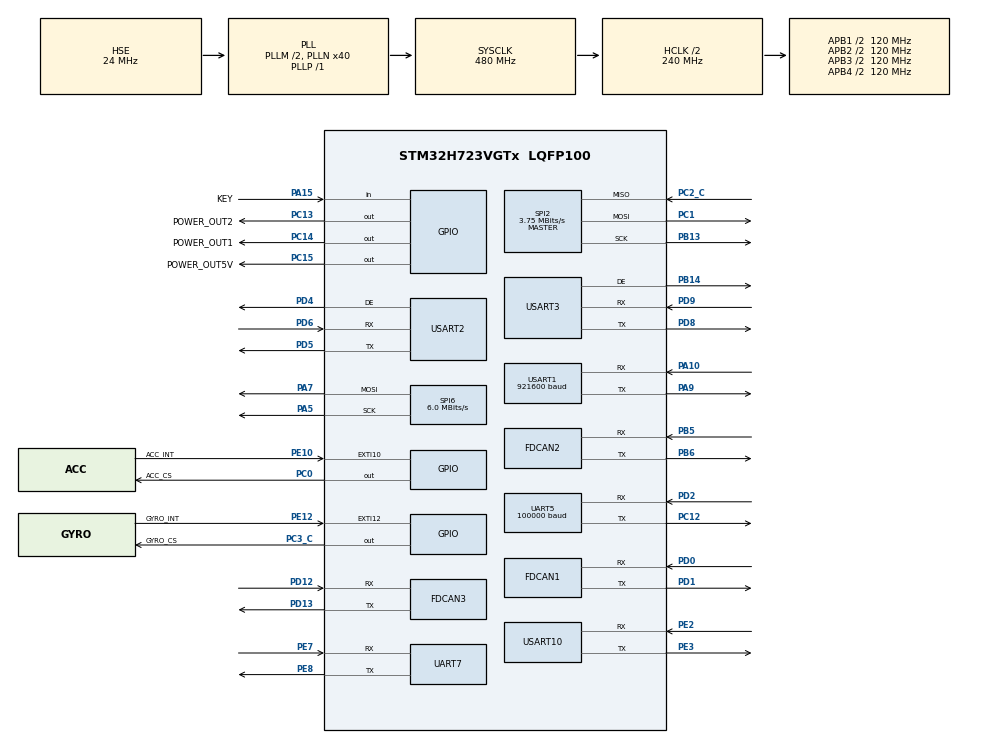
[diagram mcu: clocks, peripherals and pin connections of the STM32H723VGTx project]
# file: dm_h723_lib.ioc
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CORTEX_M7.CPU_ICache=Enabled
CORTEX_M7.default_mode_Activation=0
Dma.Request0=UART5_RX
Dma.Request1=SPI2_RX
Dma.Request2=SPI2_TX
Dma.Request3=USART3_RX
Dma.Request4=USART3_TX
Dma.Request5=USART2_RX
Dma.Request6=USART2_TX
Dma.SPI2_RX.1.Direction=DMA_PERIPH_TO_MEMORY
Dma.SPI2_RX.1.EventEnable=DISABLE
Dma.SPI2_RX.1.FIFOMode=DMA_FIFOMODE_DISABLE
Dma.SPI2_RX.1.Instance=DMA1_Stream0
Dma.SPI2_RX.1.MemDataAlignment=DMA_MDATAALIGN_BYTE
Dma.SPI2_RX.1.MemInc=DMA_MINC_ENABLE
Dma.SPI2_RX.1.Mode=DMA_NORMAL
Dma.SPI2_RX.1.PeriphDataAlignment=DMA_PDATAALIGN_BYTE
Dma.SPI2_RX.1.PeriphInc=DMA_PINC_DISABLE
Dma.SPI2_RX.1.Polarity=HAL_DMAMUX_REQ_GEN_RISING
Dma.SPI2_RX.1.Priority=DMA_PRIORITY_VERY_HIGH
Dma.SPI2_RX.1.RequestNumber=1
Dma.SPI2_RX.1.SignalID=NONE
Dma.SPI2_RX.1.SyncEnable=DISABLE
Dma.SPI2_RX.1.SyncPolarity=HAL_DMAMUX_SYNC_NO_EVENT
Dma.SPI2_RX.1.SyncRequestNumber=1
Dma.SPI2_RX.1.SyncSignalID=NONE
Dma.SPI2_TX.2.Direction=DMA_MEMORY_TO_PERIPH
Dma.SPI2_TX.2.EventEnable=DISABLE
Dma.SPI2_TX.2.FIFOMode=DMA_FIFOMODE_DISABLE
Dma.SPI2_TX.2.Instance=DMA1_Stream1
Dma.SPI2_TX.2.MemDataAlignment=DMA_MDATAALIGN_BYTE
Dma.SPI2_TX.2.MemInc=DMA_MINC_ENABLE
Dma.SPI2_TX.2.Mode=DMA_NORMAL
Dma.SPI2_TX.2.PeriphDataAlignment=DMA_PDATAALIGN_BYTE
Dma.SPI2_TX.2.PeriphInc=DMA_PINC_DISABLE
Dma.SPI2_TX.2.Polarity=HAL_DMAMUX_REQ_GEN_RISING
Dma.SPI2_TX.2.Priority=DMA_PRIORITY_HIGH
Dma.SPI2_TX.2.RequestNumber=1
Dma.SPI2_TX.2.SignalID=NONE
Dma.SPI2_TX.2.SyncEnable=DISABLE
Dma.SPI2_TX.2.SyncPolarity=HAL_DMAMUX_SYNC_NO_EVENT
Dma.SPI2_TX.2.SyncRequestNumber=1
Dma.SPI2_TX.2.SyncSignalID=NONE
Dma.UART5_RX.0.Direction=DMA_PERIPH_TO_MEMORY
Dma.UART5_RX.0.EventEnable=DISABLE
Dma.UART5_RX.0.FIFOMode=DMA_FIFOMODE_DISABLE
Dma.UART5_RX.0.Instance=DMA1_Stream2
Dma.UART5_RX.0.MemDataAlignment=DMA_MDATAALIGN_BYTE
Dma.UART5_RX.0.MemInc=DMA_MINC_ENABLE
Dma.UART5_RX.0.Mode=DMA_NORMAL
Dma.UART5_RX.0.PeriphDataAlignment=DMA_PDATAALIGN_BYTE
Dma.UART5_RX.0.PeriphInc=DMA_PINC_DISABLE
Dma.UART5_RX.0.Polarity=HAL_DMAMUX_REQ_GEN_RISING
Dma.UART5_RX.0.Priority=DMA_PRIORITY_VERY_HIGH
Dma.UART5_RX.0.RequestNumber=1
Dma.UART5_RX.0.SignalID=NONE
Dma.UART5_RX.0.SyncEnable=DISABLE
Dma.UART5_RX.0.SyncPolarity=HAL_DMAMUX_SYNC_NO_EVENT
Dma.UART5_RX.0.SyncRequestNumber=1
Dma.UART5_RX.0.SyncSignalID=NONE
Dma.USART2_RX.5.Direction=DMA_PERIPH_TO_MEMORY
Dma.USART2_RX.5.EventEnable=DISABLE
Dma.USART2_RX.5.FIFOMode=DMA_FIFOMODE_DISABLE
Dma.USART2_RX.5.Instance=DMA1_Stream5
Dma.USART2_RX.5.MemDataAlignment=DMA_MDATAALIGN_BYTE
Dma.USART2_RX.5.MemInc=DMA_MINC_ENABLE
Dma.USART2_RX.5.Mode=DMA_NORMAL
Dma.USART2_RX.5.PeriphDataAlignment=DMA_PDATAALIGN_BYTE
Dma.USART2_RX.5.PeriphInc=DMA_PINC_DISABLE
Dma.USART2_RX.5.Polarity=HAL_DMAMUX_REQ_GEN_RISING
Dma.USART2_RX.5.Priority=DMA_PRIORITY_HIGH
Dma.USART2_RX.5.RequestNumber=1
Dma.USART2_RX.5.SignalID=NONE
Dma.USART2_RX.5.SyncEnable=DISABLE
Dma.USART2_RX.5.SyncPolarity=HAL_DMAMUX_SYNC_NO_EVENT
Dma.USART2_RX.5.SyncRequestNumber=1
Dma.USART2_RX.5.SyncSignalID=NONE
Dma.USART2_TX.6.Direction=DMA_MEMORY_TO_PERIPH
Dma.USART2_TX.6.EventEnable=DISABLE
Dma.USART2_TX.6.FIFOMode=DMA_FIFOMODE_DISABLE
Dma.USART2_TX.6.Instance=DMA1_Stream6
Dma.USART2_TX.6.MemDataAlignment=DMA_MDATAALIGN_BYTE
Dma.USART2_TX.6.MemInc=DMA_MINC_ENABLE
Dma.USART2_TX.6.Mode=DMA_NORMAL
Dma.USART2_TX.6.PeriphDataAlignment=DMA_PDATAALIGN_BYTE
Dma.USART2_TX.6.PeriphInc=DMA_PINC_DISABLE
Dma.USART2_TX.6.Polarity=HAL_DMAMUX_REQ_GEN_RISING
Dma.USART2_TX.6.Priority=DMA_PRIORITY_HIGH
Dma.USART2_TX.6.RequestNumber=1
Dma.USART2_TX.6.SignalID=NONE
Dma.USART2_TX.6.SyncEnable=DISABLE
Dma.USART2_TX.6.SyncPolarity=HAL_DMAMUX_SYNC_NO_EVENT
Dma.USART2_TX.6.SyncRequestNumber=1
Dma.USART2_TX.6.SyncSignalID=NONE
Dma.USART3_RX.3.Direction=DMA_PERIPH_TO_MEMORY
Dma.USART3_RX.3.EventEnable=DISABLE
Dma.USART3_RX.3.FIFOMode=DMA_FIFOMODE_DISABLE
Dma.USART3_RX.3.Instance=DMA1_Stream3
Dma.USART3_RX.3.MemDataAlignment=DMA_MDATAALIGN_BYTE
Dma.USART3_RX.3.MemInc=DMA_MINC_ENABLE
Dma.USART3_RX.3.Mode=DMA_NORMAL
Dma.USART3_RX.3.PeriphDataAlignment=DMA_PDATAALIGN_BYTE
Dma.USART3_RX.3.PeriphInc=DMA_PINC_DISABLE
Dma.USART3_RX.3.Polarity=HAL_DMAMUX_REQ_GEN_RISING
Dma.USART3_RX.3.Priority=DMA_PRIORITY_HIGH
Dma.USART3_RX.3.RequestNumber=1
Dma.USART3_RX.3.SignalID=NONE
Dma.USART3_RX.3.SyncEnable=DISABLE
Dma.USART3_RX.3.SyncPolarity=HAL_DMAMUX_SYNC_NO_EVENT
Dma.USART3_RX.3.SyncRequestNumber=1
Dma.USART3_RX.3.SyncSignalID=NONE
Dma.USART3_TX.4.Direction=DMA_MEMORY_TO_PERIPH
Dma.USART3_TX.4.EventEnable=DISABLE
Dma.USART3_TX.4.FIFOMode=DMA_FIFOMODE_DISABLE
Dma.USART3_TX.4.Instance=DMA1_Stream4
Dma.USART3_TX.4.MemDataAlignment=DMA_MDATAALIGN_BYTE
Dma.USART3_TX.4.MemInc=DMA_MINC_ENABLE
Dma.USART3_TX.4.Mode=DMA_NORMAL
Dma.USART3_TX.4.PeriphDataAlignment=DMA_PDATAALIGN_BYTE
Dma.USART3_TX.4.PeriphInc=DMA_PINC_DISABLE
Dma.USART3_TX.4.Polarity=HAL_DMAMUX_REQ_GEN_RISING
Dma.USART3_TX.4.Priority=DMA_PRIORITY_HIGH
Dma.USART3_TX.4.RequestNumber=1
Dma.USART3_TX.4.SignalID=NONE
Dma.USART3_TX.4.SyncEnable=DISABLE
Dma.USART3_TX.4.SyncPolarity=HAL_DMAMUX_SYNC_NO_EVENT
Dma.USART3_TX.4.SyncRequestNumber=1
Dma.USART3_TX.4.SyncSignalID=NONE
FDCAN1.CalculateBaudRateNominal=1000000
FDCAN1.CalculateTimeBitNominal=1000
FDCAN1.CalculateTimeQuantumNominal=25.0
FDCAN1.DataPrescaler=3
FDCAN1.DataSyncJumpWidth=10
FDCAN1.DataTimeSeg1=29
FDCAN1.DataTimeSeg2=10
FDCAN1.NominalPrescaler=3
FDCAN1.NominalSyncJumpWidth=10
FDCAN1.NominalTimeSeg1=29
FDCAN1.NominalTimeSeg2=10
FDCAN1.RxFifo0ElmtsNbr=32
FDCAN1.StdFiltersNbr=1
FDCAN1.TxFifoQueueElmtsNbr=32
FDCAN2.CalculateBaudRateNominal=1000000
FDCAN2.CalculateTimeBitNominal=1000
FDCAN2.CalculateTimeQuantumNominal=25.0
FDCAN2.DataPrescaler=3
FDCAN2.DataSyncJumpWidth=10
FDCAN2.DataTimeSeg1=29
FDCAN2.DataTimeSeg2=10
FDCAN2.MessageRAMOffset=852
FDCAN2.NominalPrescaler=3
FDCAN2.NominalSyncJumpWidth=10
FDCAN2.NominalTimeSeg1=29
FDCAN2.NominalTimeSeg2=10
FDCAN2.RxFifo0ElmtsNbr=32
FDCAN2.StdFiltersNbr=1
FDCAN2.TxFifoQueueElmtsNbr=32
FDCAN3.CalculateBaudRateNominal=1000000
FDCAN3.CalculateTimeBitNominal=1000
FDCAN3.CalculateTimeQuantumNominal=25.0
FDCAN3.DataPrescaler=3
FDCAN3.DataSyncJumpWidth=10
FDCAN3.DataTimeSeg1=29
FDCAN3.DataTimeSeg2=10
FDCAN3.MessageRAMOffset=1704
FDCAN3.NominalPrescaler=3
FDCAN3.NominalSyncJumpWidth=10
FDCAN3.NominalTimeSeg1=29
FDCAN3.NominalTimeSeg2=10
FDCAN3.RxFifo0ElmtsNbr=32
FDCAN3.StdFiltersNbr=1
FDCAN3.TxFifoQueueElmtsNbr=32
FREERTOS.Tasks01=defaultTask,0,128,StartDefaultTask,Default,NULL,Dynamic,NULL,NULL;debug_uart,-3,1024,DEBUG_UART_TASK,As weak,NULL,Dynamic,NULL,NULL;led,-3,128,LED_TASK,As weak,NULL,Dynamic,NULL,NULL;get_rc,-3,256,GET_RC_TASK,As weak,NULL,Dynamic,NULL,NULL;imu_data,-3,1024,IMU_DATA_GET,As weak,NULL,Dynamic,NULL,NULL;can_sent,-3,256,CAN_SENT_TASK,As weak,NULL,Dynamic,NULL,NULL;shoot_task,-3,128,SHOOT_TASK,As weak,NULL,Dynamic,NULL,NULL;stop_check,-3,128,SHOOOT_STOP_CHECK,As weak,NULL,Dynamic,NULL,NULL;rs485,-3,256,RS485_SENT_TASK,As weak,NULL,Dynamic,NULL,NULL;read_key,-3,128,READ_KEY_TASK,As weak,NULL,Dynamic,NULL,NULL
FREERTOS.configTOTAL_HEAP_SIZE=30000
FREERTOS.configUSE_NEWLIB_REENTRANT=1
Mcu.Family=STM32H7
Mcu.Name=STM32H723VGTx
Mcu.Package=LQFP100
NVIC.DMA1_Stream0_IRQn=true\:5\:0\:false\:false\:true\:true\:false\:true\:true
NVIC.DMA1_Stream1_IRQn=true\:5\:0\:false\:false\:true\:true\:false\:true\:true
NVIC.DMA1_Stream2_IRQn=true\:5\:0\:false\:false\:true\:true\:false\:true\:true
NVIC.DMA1_Stream3_IRQn=true\:5\:0\:false\:false\:true\:true\:false\:true\:true
NVIC.DMA1_Stream4_IRQn=true\:5\:0\:false\:false\:true\:true\:false\:true\:true
NVIC.DMA1_Stream5_IRQn=true\:5\:0\:false\:false\:true\:true\:false\:true\:true
NVIC.DMA1_Stream6_IRQn=true\:5\:0\:false\:false\:true\:true\:false\:true\:true
NVIC.FDCAN1_IT0_IRQn=true\:5\:0\:false\:false\:true\:true\:true\:true\:true
NVIC.FDCAN2_IT0_IRQn=true\:5\:0\:false\:false\:true\:true\:true\:true\:true
NVIC.FDCAN3_IT0_IRQn=true\:5\:0\:false\:false\:true\:true\:true\:true\:true
NVIC.PriorityGroup=NVIC_PRIORITYGROUP_4
NVIC.SPI2_IRQn=true\:5\:0\:false\:false\:true\:true\:true\:true\:true
NVIC.TIM7_IRQn=true\:15\:0\:false\:false\:true\:false\:false\:true\:true
NVIC.TimeBase=TIM7_IRQn
NVIC.TimeBaseIP=TIM7
NVIC.UART5_IRQn=true\:5\:0\:false\:false\:true\:true\:true\:true\:true
NVIC.UART7_IRQn=true\:5\:0\:false\:false\:true\:true\:true\:true\:true
NVIC.USART10_IRQn=true\:5\:0\:false\:false\:true\:true\:true\:true\:true
NVIC.USART2_IRQn=true\:5\:0\:false\:false\:true\:true\:true\:true\:true
NVIC.USART3_IRQn=true\:5\:0\:false\:false\:true\:true\:true\:true\:true
PA10.Mode=Asynchronous
PA10.Signal=USART1_RX
PA13(JTMS/SWDIO).Mode=Serial_Wire
PA13(JTMS/SWDIO).Signal=DEBUG_JTMS-SWDIO
PA14(JTCK/SWCLK).Mode=Serial_Wire
PA14(JTCK/SWCLK).Signal=DEBUG_JTCK-SWCLK
PA15(JTDI).GPIO_Label=KEY
PA15(JTDI).GPIO_PuPd=GPIO_PULLUP
PA15(JTDI).Signal=GPIO_Input
PA5.Mode=TX_Only_Simplex_Unidirect_Master
PA5.Signal=SPI6_SCK
PA7.Mode=TX_Only_Simplex_Unidirect_Master
PA7.Signal=SPI6_MOSI
PA9.Mode=Asynchronous
PA9.Signal=USART1_TX
PB13.Mode=Full_Duplex_Master
PB13.Signal=SPI2_SCK
PB14.Mode=Hardware Flow Control (RS485)
PB14.Signal=USART3_DE
PB5.Mode=FDCAN_Activate
PB5.Signal=FDCAN2_RX
PB6.Mode=FDCAN_Activate
PB6.Signal=FDCAN2_TX
PC0.GPIO_Label=ACC_CS
PC0.GPIO_Speed=GPIO_SPEED_FREQ_VERY_HIGH
PC0.PinState=GPIO_PIN_SET
PC0.Signal=GPIO_Output
PC1.Mode=Full_Duplex_Master
PC1.Signal=SPI2_MOSI
PC12.Mode=Asynchronous
PC12.Signal=UART5_TX
PC13.GPIO_Label=POWER_OUT2
PC13.PinState=GPIO_PIN_SET
PC13.Signal=GPIO_Output
PC14-OSC32_IN.GPIO_Label=POWER_OUT1
PC14-OSC32_IN.PinState=GPIO_PIN_SET
PC14-OSC32_IN.Signal=GPIO_Output
PC15-OSC32_OUT.GPIO_Label=POWER_OUT5V
PC15-OSC32_OUT.PinState=GPIO_PIN_SET
PC15-OSC32_OUT.Signal=GPIO_Output
PC2_C.Mode=Full_Duplex_Master
PC2_C.Signal=SPI2_MISO
PC3_C.GPIO_Label=GYRO_CS
PC3_C.GPIO_Speed=GPIO_SPEED_FREQ_VERY_HIGH
PC3_C.PinState=GPIO_PIN_SET
PC3_C.Signal=GPIO_Output
PD0.Mode=FDCAN_Activate
PD0.Signal=FDCAN1_RX
PD1.Mode=FDCAN_Activate
PD1.Signal=FDCAN1_TX
PD12.Mode=FDCAN_Activate
PD12.Signal=FDCAN3_RX
PD13.Mode=FDCAN_Activate
PD13.Signal=FDCAN3_TX
PD2.Mode=Asynchronous
PD2.Signal=UART5_RX
PD4.Mode=Hardware Flow Control (RS485)
PD4.Signal=USART2_DE
PD5.Mode=Asynchronous
PD5.Signal=USART2_TX
PD6.Mode=Asynchronous
PD6.Signal=USART2_RX
PD8.Mode=Asynchronous
PD8.Signal=USART3_TX
PD9.Mode=Asynchronous
PD9.Signal=USART3_RX
PE10.GPIO_Label=ACC_INT
PE10.Signal=GPXTI10
PE12.GPIO_Label=GYRO_INT
PE12.Signal=GPXTI12
PE2.Mode=Asynchronous
PE2.Signal=USART10_RX
PE3.Mode=Asynchronous
PE3.Signal=USART10_TX
PE7.Mode=Asynchronous
PE7.Signal=UART7_RX
PE8.Mode=Asynchronous
PE8.Signal=UART7_TX
PH0-OSC_IN.Mode=HSE-External-Oscillator
PH0-OSC_IN.Signal=RCC_OSC_IN
PH1-OSC_OUT.Mode=HSE-External-Oscillator
PH1-OSC_OUT.Signal=RCC_OSC_OUT
ProjectManager.HeapSize=0x200
ProjectManager.StackSize=0x400
ProjectManager.TargetToolchain=STM32CubeIDE
RCC.ADCFreq_Value=96000000
RCC.APB1Freq_Value=120000000
RCC.APB2Freq_Value=120000000
RCC.APB3Freq_Value=120000000
RCC.APB4Freq_Value=120000000
RCC.CortexFreq_Value=480000000
RCC.D1PPRE=RCC_APB3_DIV2
RCC.D2PPRE1=RCC_APB1_DIV2
RCC.D2PPRE2=RCC_APB2_DIV2
RCC.D3PPRE=RCC_APB4_DIV2
RCC.DIVM1=2
RCC.DIVM2=2
RCC.DIVN1=40
RCC.DIVN2=16
RCC.DIVP1=1
RCC.DIVQ1=4
RCC.HCLKFreq_Value=240000000
RCC.HPRE=RCC_HCLK_DIV2
RCC.HSE_VALUE=24000000
RCC.PLL2FRACN=0
RCC.PLL3FRACN=0
RCC.PLLFRACN=0
RCC.PLLSourceVirtual=RCC_PLLSOURCE_HSE
RCC.SPI6CLockSelection=RCC_SPI6CLKSOURCE_HSE
RCC.SYSCLKFreq_VALUE=480000000
RCC.SYSCLKSource=RCC_SYSCLKSOURCE_PLLCLK
RCC.USBFreq_Value=120000000
SPI2.BaudRatePrescaler=SPI_BAUDRATEPRESCALER_32
SPI2.CLKPhase=SPI_PHASE_2EDGE
SPI2.CLKPolarity=SPI_POLARITY_HIGH
SPI2.CalculateBaudRate=3.75 MBits/s
SPI2.DataSize=SPI_DATASIZE_8BIT
SPI2.Direction=SPI_DIRECTION_2LINES
SPI2.Mode=SPI_MODE_MASTER
SPI2.VirtualType=VM_MASTER
SPI6.BaudRatePrescaler=SPI_BAUDRATEPRESCALER_4
SPI6.CLKPhase=SPI_PHASE_2EDGE
SPI6.CalculateBaudRate=6.0 MBits/s
SPI6.DataSize=SPI_DATASIZE_8BIT
SPI6.Direction=SPI_DIRECTION_2LINES_TXONLY
SPI6.Mode=SPI_MODE_MASTER
SPI6.VirtualType=VM_MASTER
UART5.BaudRate=100000
UART5.Mode=MODE_TX_RX
UART5.Parity=PARITY_EVEN
UART5.StopBits=UART_STOPBITS_2
UART5.WordLength=WORDLENGTH_9B
USART1.BaudRate=921600
USART1.VirtualMode-Asynchronous=VM_ASYNC
USART10.VirtualMode=VM_ASYNC
USART2.VirtualMode-Asynchronous=VM_ASYNC
USART2.VirtualMode-Hardware\ Flow\ Control\ (RS485)=VM_ASYNC
USART3.OverSampling=UART_OVERSAMPLING_8
USART3.VirtualMode-Asynchronous=VM_ASYNC
USART3.VirtualMode-Hardware\ Flow\ Control\ (RS485)=VM_ASYNC
VP_FREERTOS_VS_CMSIS_V1.Mode=CMSIS_V1
VP_MEMORYMAP_VS_MEMORYMAP.Mode=CurAppReg
VP_SYS_VS_tim7.Mode=TIM7
board=custom

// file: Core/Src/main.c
/* USER CODE BEGIN Header */
/**
  ******************************************************************************
  * @file           : main.c
  * @brief          : Main program body
  ******************************************************************************
  * @attention
  *
  * Copyright (c) 2026 STMicroelectronics.
  * All rights reserved.
  *
  * This software is licensed under terms that can be found in the LICENSE file
  * in the root directory of this software component.
  * If no LICENSE file comes with this software, it is provided AS-IS.
  *
  ******************************************************************************
  */
/* USER CODE END Header */
#include "main.h"
#include "cmsis_os.h"
#include "dma.h"
#include "fdcan.h"
#include "spi.h"
#include "usart.h"
#include "gpio.h"

/* USER CODE BEGIN Includes */
#include "ws2812.h"
#include "uart_printf.h"
#include "remote_control.h"
#include "BMI088driver.h"
#include "bsp_can.h"
#include "dm_motor.h"
#include "SHOOT_TASK.h"
/* USER CODE END Includes */

/* USER CODE BEGIN PV */
float gyro[3], accel[3], temp;
float INS_quat[4] = {1.0f, 0.0f, 0.0f, 0.0f};
float INS_angle[3] = {0.0f, 0.0f, 0.0f};
float INS_degree[3] = {0.0f, 0.0f, 0.0f};

//shoot
float SHOOT_2006_ID1_GIVEN_SPEED ;
int16_t SHOOT_2006_ID1_GIVEN_CURRENT ;

int16_t KEY_STATE ;
/* USER CODE END PV */

void SystemClock_Config(void);
void MX_FREERTOS_Init(void);

int main(void)
{

  /* Enable the CPU Cache */

  /* Enable I-Cache---------------------------------------------------------*/
  SCB_EnableICache();

  /* MCU Configuration--------------------------------------------------------*/

  /* Reset of all peripherals, Initializes the Flash interface and the Systick. */
  HAL_Init();

  /* Configure the system clock */
  SystemClock_Config();

  /* Initialize all configured peripherals */
  MX_GPIO_Init();
  MX_DMA_Init();
  MX_SPI6_Init();
  MX_USART1_UART_Init();
  MX_UART5_Init();
  MX_SPI2_Init();
  MX_FDCAN1_Init();
  MX_FDCAN2_Init();
  MX_FDCAN3_Init();
  MX_UART7_Init();
  MX_USART10_UART_Init();
  MX_USART3_UART_Init();
  MX_USART2_UART_Init();
  /* USER CODE BEGIN 2 */

    while(BMI088_init());

    //about remote control
#if REMOTE_TYPE == SBUS
    HAL_UARTEx_ReceiveToIdle_DMA(&huart5, rx_subs_buff, SBUS_BUFF_SIZE * 2);
#endif

#if REMOTE_TYPE == DBUS
    HAL_UARTEx_ReceiveToIdle_DMA(&huart5, rx_dbus_buff, DBUS_BUFF_SIZE);
#endif
    dm_motor_init();

    BSP_FDCAN_Init();

    shoot_2006_id1_speed_pid_init();

  /* USER CODE END 2 */

  /* Call init function for freertos objects (in cmsis_os2.c) */
  MX_FREERTOS_Init();

  /* Start scheduler */
  osKernelStart();

  /* We should never get here as control is now taken by the scheduler */

  /* Infinite loop */
  while (1)
  {

  }
}

void SystemClock_Config(void)
{
  RCC_OscInitTypeDef RCC_OscInitStruct = {0};
  RCC_ClkInitTypeDef RCC_ClkInitStruct = {0};

  /** Supply configuration update enable
  */
  HAL_PWREx_ConfigSupply(PWR_LDO_SUPPLY);

  /** Configure the main internal regulator output voltage
  */
  __HAL_PWR_VOLTAGESCALING_CONFIG(PWR_REGULATOR_VOLTAGE_SCALE0);

  while(!__HAL_PWR_GET_FLAG(PWR_FLAG_VOSRDY)) {}

  /** Initializes the RCC Oscillators according to the specified parameters
  * in the RCC_OscInitTypeDef structure.
  */
  RCC_OscInitStruct.OscillatorType = RCC_OSCILLATORTYPE_HSE;
  RCC_OscInitStruct.HSEState = RCC_HSE_ON;
  RCC_OscInitStruct.PLL.PLLState = RCC_PLL_ON;
  RCC_OscInitStruct.PLL.PLLSource = RCC_PLLSOURCE_HSE;
  RCC_OscInitStruct.PLL.PLLM = 2;
  RCC_OscInitStruct.PLL.PLLN = 40;
  RCC_OscInitStruct.PLL.PLLP = 1;
  RCC_OscInitStruct.PLL.PLLQ = 4;
  RCC_OscInitStruct.PLL.PLLR = 2;
  RCC_OscInitStruct.PLL.PLLRGE = RCC_PLL1VCIRANGE_3;
  RCC_OscInitStruct.PLL.PLLVCOSEL = RCC_PLL1VCOWIDE;
  RCC_OscInitStruct.PLL.PLLFRACN = 0;
  if (HAL_RCC_OscConfig(&RCC_OscInitStruct) != HAL_OK)
  {
    Error_Handler();
  }

  /** Initializes the CPU, AHB and APB buses clocks
  */
  RCC_ClkInitStruct.ClockType = RCC_CLOCKTYPE_HCLK|RCC_CLOCKTYPE_SYSCLK
                              |RCC_CLOCKTYPE_PCLK1|RCC_CLOCKTYPE_PCLK2
                              |RCC_CLOCKTYPE_D3PCLK1|RCC_CLOCKTYPE_D1PCLK1;
  RCC_ClkInitStruct.SYSCLKSource = RCC_SYSCLKSOURCE_PLLCLK;
  RCC_ClkInitStruct.SYSCLKDivider = RCC_SYSCLK_DIV1;
  RCC_ClkInitStruct.AHBCLKDivider = RCC_HCLK_DIV2;
  RCC_ClkInitStruct.APB3CLKDivider = RCC_APB3_DIV2;
  RCC_ClkInitStruct.APB1CLKDivider = RCC_APB1_DIV2;
  RCC_ClkInitStruct.APB2CLKDivider = RCC_APB2_DIV2;
  RCC_ClkInitStruct.APB4CLKDivider = RCC_APB4_DIV2;

  if (HAL_RCC_ClockConfig(&RCC_ClkInitStruct, FLASH_LATENCY_3) != HAL_OK)
  {
    Error_Handler();
  }
}

void HAL_TIM_PeriodElapsedCallback(TIM_HandleTypeDef *htim)
{
  if (htim->Instance == TIM7) {
    HAL_IncTick();
  }
}

void Error_Handler(void)
{
  __disable_irq();
  while (1)
  {
  }
}

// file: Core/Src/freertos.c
/* USER CODE BEGIN Header */
/**
  ******************************************************************************
  * File Name          : freertos.c
  * Description        : Code for freertos applications
  ******************************************************************************
  * @attention
  *
  * Copyright (c) 2026 STMicroelectronics.
  * All rights reserved.
  *
  * This software is licensed under terms that can be found in the LICENSE file
  * in the root directory of this software component.
  * If no LICENSE file comes with this software, it is provided AS-IS.
  *
  ******************************************************************************
  */
/* USER CODE END Header */

#include "FreeRTOS.h"
#include "task.h"
#include "main.h"
#include "cmsis_os.h"

osThreadId defaultTaskHandle;
osThreadId debug_uartHandle;
osThreadId ledHandle;
osThreadId get_rcHandle;
osThreadId imu_dataHandle;
osThreadId can_sentHandle;
osThreadId shoot_taskHandle;
osThreadId stop_checkHandle;
osThreadId rs485Handle;
osThreadId read_keyHandle;

void StartDefaultTask(void const * argument);
void DEBUG_UART_TASK(void const * argument);
void LED_TASK(void const * argument);
void GET_RC_TASK(void const * argument);
void IMU_DATA_GET(void const * argument);
void CAN_SENT_TASK(void const * argument);
void SHOOT_TASK(void const * argument);
void SHOOOT_STOP_CHECK(void const * argument);
void RS485_SENT_TASK(void const * argument);
void READ_KEY_TASK(void const * argument);

void MX_FREERTOS_Init(void); /* (MISRA C 2004 rule 8.1) */

/* GetIdleTaskMemory prototype (linked to static allocation support) */
void vApplicationGetIdleTaskMemory( StaticTask_t **ppxIdleTaskTCBBuffer, StackType_t **ppxIdleTaskStackBuffer, uint32_t *pulIdleTaskStackSize );

/* USER CODE BEGIN GET_IDLE_TASK_MEMORY */
static StaticTask_t xIdleTaskTCBBuffer;
static StackType_t xIdleStack[configMINIMAL_STACK_SIZE];

void vApplicationGetIdleTaskMemory( StaticTask_t **ppxIdleTaskTCBBuffer, StackType_t **ppxIdleTaskStackBuffer, uint32_t *pulIdleTaskStackSize )
{
  *ppxIdleTaskTCBBuffer = &xIdleTaskTCBBuffer;
  *ppxIdleTaskStackBuffer = &xIdleStack[0];
  *pulIdleTaskStackSize = configMINIMAL_STACK_SIZE;
  /* place for user code */
}
/* USER CODE END GET_IDLE_TASK_MEMORY */

void MX_FREERTOS_Init(void) {

  /* Create the thread(s) */
  /* definition and creation of defaultTask */
  osThreadDef(defaultTask, StartDefaultTask, osPriorityNormal, 0, 128);
  defaultTaskHandle = osThreadCreate(osThread(defaultTask), NULL);

  /* definition and creation of debug_uart */
  osThreadDef(debug_uart, DEBUG_UART_TASK, osPriorityIdle, 0, 1024);
  debug_uartHandle = osThreadCreate(osThread(debug_uart), NULL);

  /* definition and creation of led */
  osThreadDef(led, LED_TASK, osPriorityIdle, 0, 128);
  ledHandle = osThreadCreate(osThread(led), NULL);

  /* definition and creation of get_rc */
  osThreadDef(get_rc, GET_RC_TASK, osPriorityIdle, 0, 256);
  get_rcHandle = osThreadCreate(osThread(get_rc), NULL);

  /* definition and creation of imu_data */
  osThreadDef(imu_data, IMU_DATA_GET, osPriorityIdle, 0, 1024);
  imu_dataHandle = osThreadCreate(osThread(imu_data), NULL);

  /* definition and creation of can_sent */
  osThreadDef(can_sent, CAN_SENT_TASK, osPriorityIdle, 0, 256);
  can_sentHandle = osThreadCreate(osThread(can_sent), NULL);

  /* definition and creation of shoot_task */
  osThreadDef(shoot_task, SHOOT_TASK, osPriorityIdle, 0, 128);
  shoot_taskHandle = osThreadCreate(osThread(shoot_task), NULL);

  /* definition and creation of stop_check */
  osThreadDef(stop_check, SHOOOT_STOP_CHECK, osPriorityIdle, 0, 128);
  stop_checkHandle = osThreadCreate(osThread(stop_check), NULL);

  /* definition and creation of rs485 */
  osThreadDef(rs485, RS485_SENT_TASK, osPriorityIdle, 0, 256);
  rs485Handle = osThreadCreate(osThread(rs485), NULL);

  /* definition and creation of read_key */
  osThreadDef(read_key, READ_KEY_TASK, osPriorityIdle, 0, 128);
  read_keyHandle = osThreadCreate(osThread(read_key), NULL);

}

void StartDefaultTask(void const * argument)
{
  for(;;)
  {
    osDelay(1);
  }
}

__weak void DEBUG_UART_TASK(void const * argument)
{
  for(;;)
  {
    osDelay(1);
  }
}

__weak void LED_TASK(void const * argument)
{
  for(;;)
  {
    osDelay(1);
  }
}

__weak void GET_RC_TASK(void const * argument)
{
  for(;;)
  {
    osDelay(1);
  }
}

__weak void IMU_DATA_GET(void const * argument)
{
  for(;;)
  {
    osDelay(1);
  }
}

__weak void CAN_SENT_TASK(void const * argument)
{
  for(;;)
  {
    osDelay(1);
  }
}

__weak void SHOOT_TASK(void const * argument)
{
  for(;;)
  {
    osDelay(1);
  }
}

__weak void SHOOOT_STOP_CHECK(void const * argument)
{
  for(;;)
  {
    osDelay(1);
  }
}

__weak void RS485_SENT_TASK(void const * argument)
{
  for(;;)
  {
    osDelay(1);
  }
}

__weak void READ_KEY_TASK(void const * argument)
{
  for(;;)
  {
    osDelay(1);
  }
}
